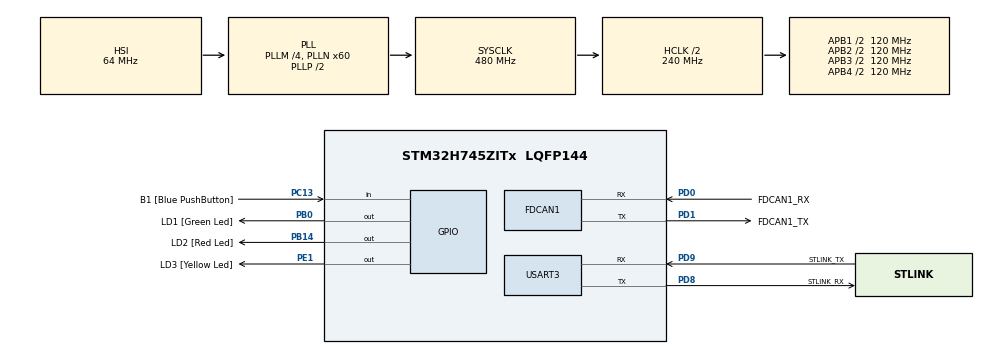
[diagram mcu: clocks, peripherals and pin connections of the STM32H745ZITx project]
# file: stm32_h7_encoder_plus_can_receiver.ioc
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CortexM4.IPs=BDMA,CORTEX_M4\:I,DEBUG,DMA,FATFS_M4\:I,FREERTOS_M4\:I,GPIO,IWDG2\:I,MDMA,NVIC2\:I,OPENAMP_M4\:I,PDM2PCM_M4\:I,PWR,RCC,RESMGR_UTILITY,SYS_M4\:I,USB_DEVICE_M4\:I,USB_HOST_M4\:I,VREFBUF,WWDG2\:I,USART3
CortexM4.Pins=PE1
CortexM7.IPs=BDMA\:I,CORTEX_M7\:I,DEBUG\:I,DMA\:I,FATFS_M7\:I,FREERTOS_M7\:I,GPIO\:I,IWDG1\:I,MDMA\:I,NVIC1\:I,OPENAMP_M7\:I,PDM2PCM_M7\:I,PWR\:I,RCC\:I,RESMGR_UTILITY\:I,SYS\:I,USB_DEVICE_M7\:I,USB_HOST_M7\:I,VREFBUF\:I,WWDG1\:I,FDCAN1\:I,USART3\:I
CortexM7.Pins=PC13,PB0,PB14
FDCAN1.CalculateBaudRateNominal=250000
FDCAN1.CalculateTimeBitNominal=4000
FDCAN1.CalculateTimeQuantumNominal=50.0
FDCAN1.Mode=FDCAN_MODE_NORMAL
FDCAN1.NominalPrescaler=2
FDCAN1.NominalSyncJumpWidth=8
FDCAN1.NominalTimeSeg1=0x3F
FDCAN1.NominalTimeSeg2=16
FDCAN1.ProtocolException=ENABLE
FDCAN1.RxFifo0ElmtsNbr=1
FDCAN1.StdFiltersNbr=1
FDCAN1.TxFifoQueueElmtsNbr=1
Mcu.Family=STM32H7
Mcu.Name=STM32H745ZITx
Mcu.Package=LQFP144
NVIC1.PriorityGroup=NVIC_PRIORITYGROUP_4
NVIC2.PriorityGroup=NVIC_PRIORITYGROUP_4
PA13\ (JTMS/SWDIO).Mode=Serial_Wire
PA13\ (JTMS/SWDIO).PinAttribute=CortexM7
PA13\ (JTMS/SWDIO).Signal=DEBUG_JTMS-SWDIO
PA14\ (JTCK/SWCLK).Mode=Serial_Wire
PA14\ (JTCK/SWCLK).PinAttribute=CortexM7
PA14\ (JTCK/SWCLK).Signal=DEBUG_JTCK-SWCLK
PB0.GPIO_Label=LD1 [Green Led]
PB0.PinAttribute=CortexM7
PB0.Signal=GPIO_Output
PB14.GPIO_Label=LD2 [Red Led]
PB14.PinAttribute=CortexM7
PB14.Signal=GPIO_Output
PC13.GPIO_Label=B1 [Blue PushButton]
PC13.PinAttribute=CortexM7
PC13.Signal=GPIO_Input
PC14-OSC32_IN\ (OSC32_IN).Mode=LSE-External-Oscillator
PC14-OSC32_IN\ (OSC32_IN).PinAttribute=CortexM7
PC14-OSC32_IN\ (OSC32_IN).Signal=RCC_OSC32_IN
PC15-OSC32_OUT\ (OSC32_OUT).Mode=LSE-External-Oscillator
PC15-OSC32_OUT\ (OSC32_OUT).PinAttribute=CortexM7
PC15-OSC32_OUT\ (OSC32_OUT).Signal=RCC_OSC32_OUT
PD0.GPIO_Label=FDCAN1_RX
PD0.GPIO_PuPd=GPIO_PULLUP
PD0.GPIO_Speed=GPIO_SPEED_FREQ_VERY_HIGH
PD0.Mode=FDCAN_Activate
PD0.PinAttribute=CortexM7
PD0.Signal=FDCAN1_RX
PD1.GPIO_Label=FDCAN1_TX
PD1.GPIO_PuPd=GPIO_PULLUP
PD1.GPIO_Speed=GPIO_SPEED_FREQ_VERY_HIGH
PD1.Mode=FDCAN_Activate
PD1.PinAttribute=CortexM7
PD1.Signal=FDCAN1_TX
PD8.GPIO_Label=STLINK_RX
PD8.Mode=Asynchronous
PD8.PinAttribute=CortexM7
PD8.Signal=USART3_TX
PD9.GPIO_Label=STLINK_TX
PD9.Mode=Asynchronous
PD9.PinAttribute=CortexM7
PD9.Signal=USART3_RX
PE1.GPIO_Label=LD3 [Yellow Led]
PE1.PinAttribute=CortexM4
PE1.Signal=GPIO_Output
PH0-OSC_IN\ (PH0).Mode=HSE-External-Clock-Source
PH0-OSC_IN\ (PH0).PinAttribute=CortexM7
PH0-OSC_IN\ (PH0).Signal=RCC_OSC_IN
ProjectManager.HeapSize=M4-0x200,M7-0x200
ProjectManager.StackSize=M4-0x400,M7-0x400
ProjectManager.TargetToolchain=STM32CubeIDE
RCC.ADCFreq_Value=72000000
RCC.APB1Freq_Value=120000000
RCC.APB2Freq_Value=120000000
RCC.APB3Freq_Value=120000000
RCC.APB4Freq_Value=120000000
RCC.CortexFreq_Value=480000000
RCC.D1PPRE=RCC_APB3_DIV2
RCC.D2PPRE1=RCC_APB1_DIV2
RCC.D2PPRE2=RCC_APB2_DIV2
RCC.D3PPRE=RCC_APB4_DIV2
RCC.DIVM1=4
RCC.DIVM2=4
RCC.DIVN1=60
RCC.DIVN2=9
RCC.DIVQ1=24
RCC.HCLKFreq_Value=240000000
RCC.HPRE=RCC_HCLK_DIV2
RCC.HSE_VALUE=8000000
RCC.SYSCLKFreq_VALUE=480000000
RCC.SYSCLKSource=RCC_SYSCLKSOURCE_PLLCLK
RCC.USBFreq_Value=40000000
SYS.userName=SYS_M7
USART3.VirtualMode-Asynchronous=VM_ASYNC
VP_SYS_M4_VS_Systick.Mode=SysTick
board=custom

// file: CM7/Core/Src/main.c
/* USER CODE BEGIN Header */
/**
 ******************************************************************************
 * @file           : main.c
 * @brief          : Main program body
 ******************************************************************************
 * @attention
 *
 * Copyright (c) 2023 STMicroelectronics.
 * All rights reserved.
 *
 * This software is licensed under terms that can be found in the LICENSE file
 * in the root directory of this software component.
 * If no LICENSE file comes with this software, it is provided AS-IS.
 *
 ******************************************************************************
 */
/* USER CODE END Header */
#include "main.h"

/* USER CODE BEGIN Includes */
#include "stdio.h"
#include "myprintf.h"
/* USER CODE END Includes */

/* USER CODE BEGIN PD */

#ifndef HSEM_ID_0
#define HSEM_ID_0 (0U) /* HW semaphore 0*/
#endif
/* USER CODE END PD */

FDCAN_HandleTypeDef hfdcan1;

UART_HandleTypeDef huart3;

/* USER CODE BEGIN PV */
FDCAN_FilterTypeDef sFilterConfig;
FDCAN_TxHeaderTypeDef TxHeader;
FDCAN_RxHeaderTypeDef RxHeader;
uint8_t TxData[8] = { 0x10, 0x34, 0x54, 0x76, 0x98, 0x00, 0x11, 0x22 };
uint8_t RxData[8] = { 0x10, 0x34, 0x54, 0x76, 0x98, 0x00, 0x11, 0x22};

union FloatBytes {
	float floatValue;
	uint8_t byteValue[sizeof(float)];
};

union BytesFloat {
    float floatValue;
    uint8_t byteValue[sizeof(float)];
};

/* USER CODE END PV */

void SystemClock_Config(void);
static void MX_GPIO_Init(void);
static void MX_USART3_UART_Init(void);
static void MX_FDCAN1_Init(void);

/* USER CODE BEGIN 0 */

int16_t speed = 0;

/* USER CODE END 0 */

int main(void)
{
/* USER CODE BEGIN Boot_Mode_Sequence_0 */
	int32_t timeout;
/* USER CODE END Boot_Mode_Sequence_0 */

/* USER CODE BEGIN Boot_Mode_Sequence_1 */
	/* Wait until CPU2 boots and enters in stop mode or timeout*/
	timeout = 0xFFFF;
	while ((__HAL_RCC_GET_FLAG(RCC_FLAG_D2CKRDY) != RESET) && (timeout-- > 0))
		;
	if (timeout < 0) {
		Error_Handler();
	}
/* USER CODE END Boot_Mode_Sequence_1 */
  /* MCU Configuration--------------------------------------------------------*/

  /* Reset of all peripherals, Initializes the Flash interface and the Systick. */
  HAL_Init();

  /* Configure the system clock */
  SystemClock_Config();
/* USER CODE BEGIN Boot_Mode_Sequence_2 */
	/* When system initialization is finished, Cortex-M7 will release Cortex-M4 by means of
	 HSEM notification */
	/*HW semaphore Clock enable*/
	__HAL_RCC_HSEM_CLK_ENABLE();
	/*Take HSEM */
	HAL_HSEM_FastTake(HSEM_ID_0);
	/*Release HSEM in order to notify the CPU2(CM4)*/
	HAL_HSEM_Release(HSEM_ID_0, 0);
	/* wait until CPU2 wakes up from stop mode */
	timeout = 0xFFFF;
	while ((__HAL_RCC_GET_FLAG(RCC_FLAG_D2CKRDY) == RESET) && (timeout-- > 0))
		;
	if (timeout < 0) {
		Error_Handler();
	}
/* USER CODE END Boot_Mode_Sequence_2 */

  /* Initialize all configured peripherals */
  MX_GPIO_Init();
  MX_USART3_UART_Init();
  MX_FDCAN1_Init();
  /* USER CODE BEGIN 2 */
	//uint8_t TxData[] = {0x01,0x00,0xFF,0xFF,0xFF,0x00,0xFF,0xFF};
	//uint8_t TxData2[] = {0x00,0x01,0xFF,0xFF,0xFF,0x01,0xFF,0xFF};
	//uint8_t TxData3[] = {0xFF,0xFF,0xFF,0x00,0x22,0xFF,0xFF,0xFF};
	//uint8_t TxData4[] = {0xFF,0xFF,0xFF,0x00,0x00,0xFF,0xFF,0xFF};
  /* USER CODE END 2 */

  /* Infinite loop */
  /* USER CODE BEGIN WHILE */
	//printf("Hello World\r\n");
	//union FloatBytes fb;
	union BytesFloat bf;

	while (1) {
		TxHeader.Identifier = 0x00FF14A3;
		HAL_FDCAN_GetRxMessage(&hfdcan1, FDCAN_RX_FIFO0, &RxHeader, RxData);
		for (size_t i = 0; i < sizeof(float); i++) {
			uint8_t receivedByte = TxData[i];
			bf.byteValue[i] = receivedByte;
		}
		printf("\r\nReceived float: %f \r\n", bf.floatValue);
    /* USER CODE END WHILE */

	}
}

void SystemClock_Config(void)
{
  RCC_OscInitTypeDef RCC_OscInitStruct = {0};
  RCC_ClkInitTypeDef RCC_ClkInitStruct = {0};

  /** Supply configuration update enable
  */
  HAL_PWREx_ConfigSupply(PWR_DIRECT_SMPS_SUPPLY);

  /** Configure the main internal regulator output voltage
  */
  __HAL_PWR_VOLTAGESCALING_CONFIG(PWR_REGULATOR_VOLTAGE_SCALE0);

  while(!__HAL_PWR_GET_FLAG(PWR_FLAG_VOSRDY)) {}

  /** Initializes the RCC Oscillators according to the specified parameters
  * in the RCC_OscInitTypeDef structure.
  */
  RCC_OscInitStruct.OscillatorType = RCC_OSCILLATORTYPE_HSI;
  RCC_OscInitStruct.HSIState = RCC_HSI_DIV1;
  RCC_OscInitStruct.HSICalibrationValue = RCC_HSICALIBRATION_DEFAULT;
  RCC_OscInitStruct.PLL.PLLState = RCC_PLL_ON;
  RCC_OscInitStruct.PLL.PLLSource = RCC_PLLSOURCE_HSI;
  RCC_OscInitStruct.PLL.PLLM = 4;
  RCC_OscInitStruct.PLL.PLLN = 60;
  RCC_OscInitStruct.PLL.PLLP = 2;
  RCC_OscInitStruct.PLL.PLLQ = 24;
  RCC_OscInitStruct.PLL.PLLR = 2;
  RCC_OscInitStruct.PLL.PLLRGE = RCC_PLL1VCIRANGE_3;
  RCC_OscInitStruct.PLL.PLLVCOSEL = RCC_PLL1VCOWIDE;
  RCC_OscInitStruct.PLL.PLLFRACN = 0;
  if (HAL_RCC_OscConfig(&RCC_OscInitStruct) != HAL_OK)
  {
    Error_Handler();
  }

  /** Initializes the CPU, AHB and APB buses clocks
  */
  RCC_ClkInitStruct.ClockType = RCC_CLOCKTYPE_HCLK|RCC_CLOCKTYPE_SYSCLK
                              |RCC_CLOCKTYPE_PCLK1|RCC_CLOCKTYPE_PCLK2
                              |RCC_CLOCKTYPE_D3PCLK1|RCC_CLOCKTYPE_D1PCLK1;
  RCC_ClkInitStruct.SYSCLKSource = RCC_SYSCLKSOURCE_PLLCLK;
  RCC_ClkInitStruct.SYSCLKDivider = RCC_SYSCLK_DIV1;
  RCC_ClkInitStruct.AHBCLKDivider = RCC_HCLK_DIV2;
  RCC_ClkInitStruct.APB3CLKDivider = RCC_APB3_DIV2;
  RCC_ClkInitStruct.APB1CLKDivider = RCC_APB1_DIV2;
  RCC_ClkInitStruct.APB2CLKDivider = RCC_APB2_DIV2;
  RCC_ClkInitStruct.APB4CLKDivider = RCC_APB4_DIV2;

  if (HAL_RCC_ClockConfig(&RCC_ClkInitStruct, FLASH_LATENCY_4) != HAL_OK)
  {
    Error_Handler();
  }
}

static void MX_FDCAN1_Init(void)
{

  hfdcan1.Instance = FDCAN1;
  hfdcan1.Init.FrameFormat = FDCAN_FRAME_CLASSIC;
  hfdcan1.Init.Mode = FDCAN_MODE_NORMAL;
  hfdcan1.Init.AutoRetransmission = DISABLE;
  hfdcan1.Init.TransmitPause = DISABLE;
  hfdcan1.Init.ProtocolException = ENABLE;
  hfdcan1.Init.NominalPrescaler = 2;
  hfdcan1.Init.NominalSyncJumpWidth = 8;
  hfdcan1.Init.NominalTimeSeg1 = 0x3F;
  hfdcan1.Init.NominalTimeSeg2 = 16;
  hfdcan1.Init.DataPrescaler = 1;
  hfdcan1.Init.DataSyncJumpWidth = 1;
  hfdcan1.Init.DataTimeSeg1 = 1;
  hfdcan1.Init.DataTimeSeg2 = 1;
  hfdcan1.Init.MessageRAMOffset = 0;
  hfdcan1.Init.StdFiltersNbr = 1;
  hfdcan1.Init.ExtFiltersNbr = 0;
  hfdcan1.Init.RxFifo0ElmtsNbr = 1;
  hfdcan1.Init.RxFifo0ElmtSize = FDCAN_DATA_BYTES_8;
  hfdcan1.Init.RxFifo1ElmtsNbr = 0;
  hfdcan1.Init.RxFifo1ElmtSize = FDCAN_DATA_BYTES_8;
  hfdcan1.Init.RxBuffersNbr = 0;
  hfdcan1.Init.RxBufferSize = FDCAN_DATA_BYTES_8;
  hfdcan1.Init.TxEventsNbr = 0;
  hfdcan1.Init.TxBuffersNbr = 0;
  hfdcan1.Init.TxFifoQueueElmtsNbr = 1;
  hfdcan1.Init.TxFifoQueueMode = FDCAN_TX_FIFO_OPERATION;
  hfdcan1.Init.TxElmtSize = FDCAN_DATA_BYTES_8;
  if (HAL_FDCAN_Init(&hfdcan1) != HAL_OK)
  {
    Error_Handler();
  }
  /* USER CODE BEGIN FDCAN1_Init 2 */

	/* Configure Rx filter */
	sFilterConfig.IdType = FDCAN_STANDARD_ID;
	sFilterConfig.FilterIndex = 0;
	sFilterConfig.FilterType = FDCAN_FILTER_MASK;
	sFilterConfig.FilterConfig = FDCAN_FILTER_TO_RXFIFO0;
//    sFilterConfig.FilterID1 = 0x321;
//    sFilterConfig.FilterID2 = 0x7FF;
	sFilterConfig.FilterID1 = 0x610; //Testing
	sFilterConfig.FilterID2 = 0xFFF;

	/* Configure global filter to reject all non-matching frames */
	HAL_FDCAN_ConfigGlobalFilter(&hfdcan1, FDCAN_REJECT, FDCAN_REJECT,
			FDCAN_REJECT_REMOTE, FDCAN_REJECT_REMOTE);

	if (HAL_FDCAN_ConfigFilter(&hfdcan1, &sFilterConfig) != HAL_OK) {
		/* Filter configuration Error */
		Error_Handler();
	}
	/* Start the FDCAN module */
	if (HAL_FDCAN_Start(&hfdcan1) != HAL_OK) {
	}
	/* Start Error */
	if (HAL_FDCAN_ActivateNotification(&hfdcan1, FDCAN_IT_RX_FIFO0_NEW_MESSAGE,
			0) != HAL_OK) {
	}
	/* Notification Error */

	/* Configure Tx buffer message */
	TxHeader.Identifier = 0x00FF14A3;
//    TxHeader.IdType = FDCAN_STANDARD_ID;
	TxHeader.IdType = FDCAN_EXTENDED_ID;
	TxHeader.TxFrameType = FDCAN_DATA_FRAME;
//    TxHeader.DataLength = FDCAN_DLC_BYTES_12;
	TxHeader.DataLength = FDCAN_DLC_BYTES_8;
	TxHeader.ErrorStateIndicator = FDCAN_ESI_ACTIVE;
	TxHeader.BitRateSwitch = FDCAN_BRS_ON;
	TxHeader.FDFormat = FDCAN_FD_CAN;
	TxHeader.TxEventFifoControl = FDCAN_NO_TX_EVENTS;
	TxHeader.MessageMarker = 0x00;

  /* USER CODE END FDCAN1_Init 2 */

}

static void MX_USART3_UART_Init(void)
{

  huart3.Instance = USART3;
  huart3.Init.BaudRate = 115200;
  huart3.Init.WordLength = UART_WORDLENGTH_8B;
  huart3.Init.StopBits = UART_STOPBITS_1;
  huart3.Init.Parity = UART_PARITY_NONE;
  huart3.Init.Mode = UART_MODE_TX_RX;
  huart3.Init.HwFlowCtl = UART_HWCONTROL_NONE;
  huart3.Init.OverSampling = UART_OVERSAMPLING_16;
  huart3.Init.OneBitSampling = UART_ONE_BIT_SAMPLE_DISABLE;
  huart3.Init.ClockPrescaler = UART_PRESCALER_DIV1;
  huart3.AdvancedInit.AdvFeatureInit = UART_ADVFEATURE_NO_INIT;
  if (HAL_UART_Init(&huart3) != HAL_OK)
  {
    Error_Handler();
  }
  if (HAL_UARTEx_SetTxFifoThreshold(&huart3, UART_TXFIFO_THRESHOLD_1_8) != HAL_OK)
  {
    Error_Handler();
  }
  if (HAL_UARTEx_SetRxFifoThreshold(&huart3, UART_RXFIFO_THRESHOLD_1_8) != HAL_OK)
  {
    Error_Handler();
  }
  if (HAL_UARTEx_DisableFifoMode(&huart3) != HAL_OK)
  {
    Error_Handler();
  }

}

static void MX_GPIO_Init(void)
{
  GPIO_InitTypeDef GPIO_InitStruct = {0};

  /* GPIO Ports Clock Enable */
  __HAL_RCC_GPIOC_CLK_ENABLE();
  __HAL_RCC_GPIOH_CLK_ENABLE();
  __HAL_RCC_GPIOB_CLK_ENABLE();
  __HAL_RCC_GPIOD_CLK_ENABLE();
  __HAL_RCC_GPIOA_CLK_ENABLE();

  /*Configure GPIO pin Output Level */
  HAL_GPIO_WritePin(GPIOB, LD1_Pin|LD2_Pin, GPIO_PIN_RESET);

  /*Configure GPIO pin : B1_Pin */
  GPIO_InitStruct.Pin = B1_Pin;
  GPIO_InitStruct.Mode = GPIO_MODE_INPUT;
  GPIO_InitStruct.Pull = GPIO_NOPULL;
  HAL_GPIO_Init(B1_GPIO_Port, &GPIO_InitStruct);

  /*Configure GPIO pins : LD1_Pin LD2_Pin */
  GPIO_InitStruct.Pin = LD1_Pin|LD2_Pin;
  GPIO_InitStruct.Mode = GPIO_MODE_OUTPUT_PP;
  GPIO_InitStruct.Pull = GPIO_NOPULL;
  GPIO_InitStruct.Speed = GPIO_SPEED_FREQ_LOW;
  HAL_GPIO_Init(GPIOB, &GPIO_InitStruct);

}

void Error_Handler(void)
{
	__disable_irq();
	while (1) {
	}
}
